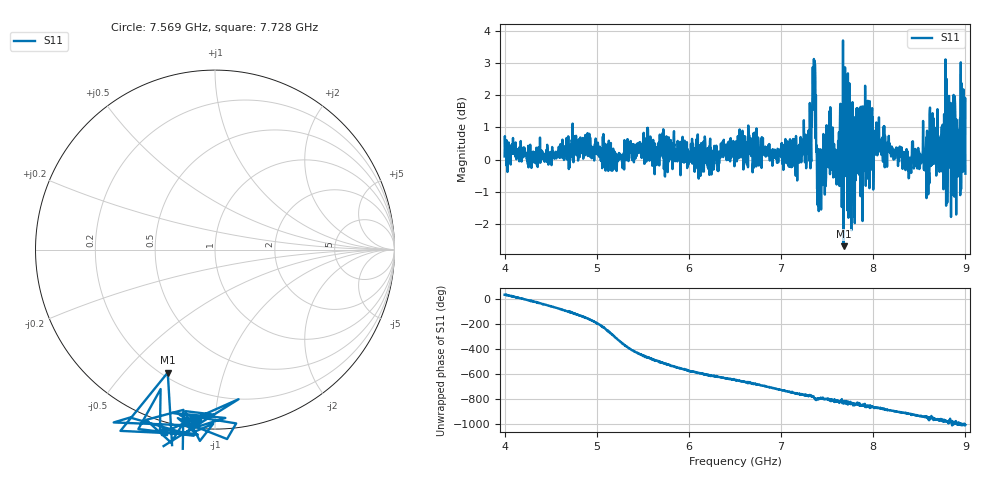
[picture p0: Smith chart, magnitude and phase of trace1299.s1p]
! Created with skrf 1.8.0 (http://scikit-rf.org).
# Hz S RI R 50.0
!freq ReS11 ImS11
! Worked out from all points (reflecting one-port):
!   1601 points, 4 GHz to 9 GHz, reference 50 ohm
!   lowest |S11| = -2.7 dB at 7.678 GHz (marker M1), VSWR 6.51, Z = 11.2 - j33.2 ohm
!   phase of S11 starts at 37 deg and turns -1045 deg over the sweep
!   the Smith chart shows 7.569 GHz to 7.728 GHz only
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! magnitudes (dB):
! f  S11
! 4 GHz  0.1
! 4.625 GHz  0.1
! 4.762 GHz  0.5
! 5.25 GHz  0.1
! 5.566 GHz  0.1
! 5.625 GHz  0.3
! 5.875 GHz  -0.1
! 6.5 GHz  0.3
! 7.125 GHz  0.1
! 7.303 GHz  0.3
! 7.356 GHz  3.1
! 7.412 GHz  0.0
! 7.538 GHz  0.3
! 7.591 GHz  0.3
! 7.65 GHz  1.6
! 7.678 GHz  -2.7
! 7.75 GHz  -0.5
! 7.784 GHz  0.0
! 7.8 GHz  -2.0
! 7.844 GHz  0.8
! 8.047 GHz  0.2
! 8.375 GHz  0.1
! 8.584 GHz  0.9
! 8.638 GHz  -0.2
! 8.775 GHz  0.8
! 8.919 GHz  -0.1
! 8.972 GHz  0.1
! 9 GHz  -0.4
